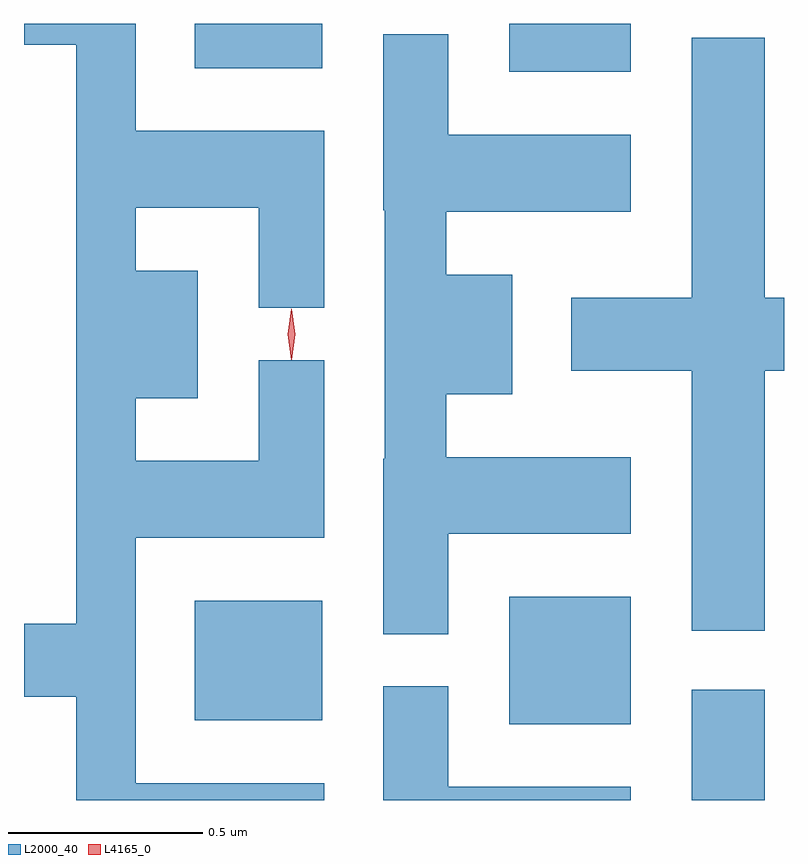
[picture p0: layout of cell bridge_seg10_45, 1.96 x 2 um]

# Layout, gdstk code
import gdstk
lib = gdstk.Library(unit=1e-6, precision=1e-09)
def R(c, l, rs):  # rectangles x0, y0, x1, y1
    for r in rs: c.add(gdstk.rectangle(r[:2], r[2:], *l))
def P(c, l, *ps):  # polygons
    for p in ps: c.add(gdstk.Polygon(p, *l))
L2000_40 = (2000, 40)
L4165_0 = (4165, 0)

bridge_seg10_45 = lib.new_cell('bridge_seg10_45')
R(bridge_seg10_45, L2000_40, [(1751.166,2174.69,1751.354,2174.974), (1750.696,2174.886,1751.009,2175.214), (1749.886,2174.896,1750.214,2175.204), (1750.696,2176.566,1751.009,2176.69), (1749.886,2176.576,1750.214,2176.69)])
P(bridge_seg10_45, L2000_40, [(1750.219,2174.734),(1749.734,2174.734),(1749.734,2175.366),(1750.219,2175.366),(1750.219,2175.823),(1750.051,2175.823),(1750.051,2175.564),(1749.734,2175.564),(1749.734,2175.726),(1749.894,2175.726),(1749.894,2176.054),(1749.734,2176.054),(1749.734,2176.216),(1750.051,2176.216),(1750.051,2175.958),(1750.219,2175.958),(1750.219,2176.414),(1749.734,2176.414),(1749.734,2176.69),(1749.446,2176.69),(1749.446,2176.636),(1749.581,2176.636),(1749.581,2175.144),(1749.446,2175.144),(1749.446,2174.956),(1749.581,2174.956),(1749.581,2174.69),(1750.219,2174.69)],
  [(1750.539,2175.376),(1751.009,2175.376),(1751.009,2175.574),(1750.534,2175.574),(1750.534,2175.736),(1750.704,2175.736),(1750.704,2176.044),(1750.534,2176.044),(1750.534,2176.206),(1751.009,2176.206),(1751.009,2176.404),(1750.539,2176.404),(1750.539,2176.663),(1750.371,2176.663),(1750.371,2176.21),(1750.376,2176.21),(1750.376,2175.57),(1750.371,2175.57),(1750.371,2175.118),(1750.539,2175.118)],
  [(1751.354,2175.796),(1751.404,2175.796),(1751.404,2175.984),(1751.354,2175.984),(1751.354,2176.654),(1751.166,2176.654),(1751.166,2175.984),(1750.856,2175.984),(1750.856,2175.796),(1751.166,2175.796),(1751.166,2175.126),(1751.354,2175.126)],
  [(1751.009,2174.724),(1750.539,2174.724),(1750.539,2174.983),(1750.371,2174.983),(1750.371,2174.69),(1751.009,2174.69)])
P(bridge_seg10_45, L4165_0, [(1750.135,2175.824),(1750.134,2175.825),(1750.125,2175.89),(1750.134,2175.955),(1750.135,2175.956),(1750.136,2175.955),(1750.145,2175.89),(1750.136,2175.825)])

lib.write_gds('bridge_seg10_45.gds')
